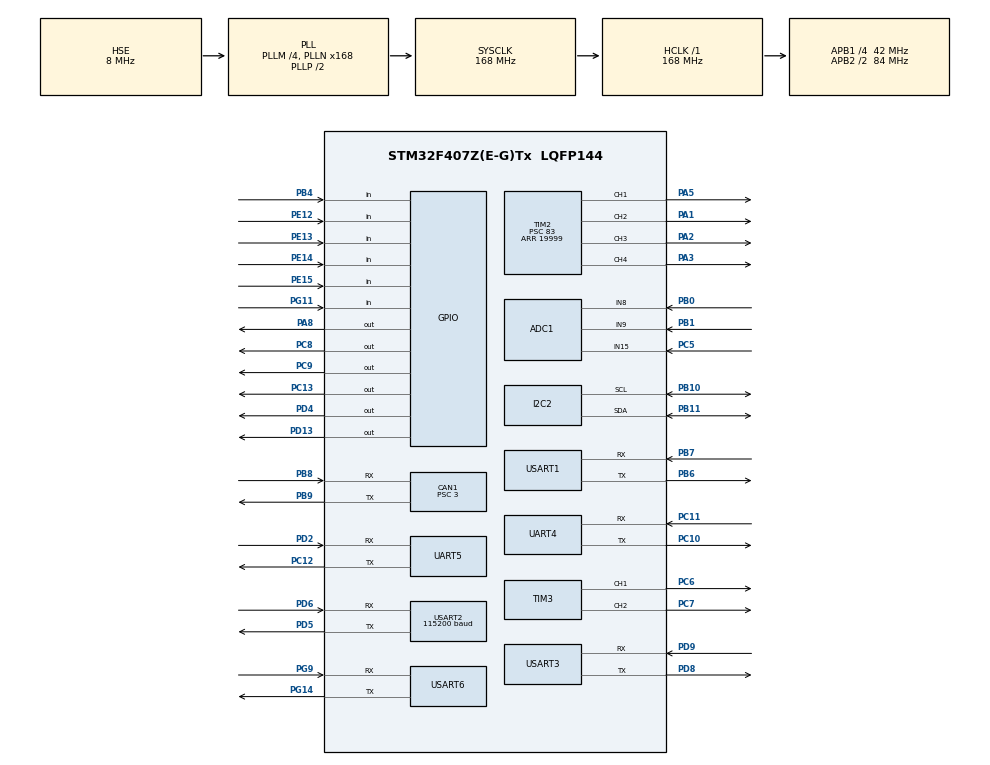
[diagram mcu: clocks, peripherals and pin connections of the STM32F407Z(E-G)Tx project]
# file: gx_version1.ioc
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ADC1.Channel-0\#ChannelRegularConversion=ADC_CHANNEL_15
ADC1.NbrOfConversionFlag=1
ADC1.Rank-0\#ChannelRegularConversion=1
ADC1.SamplingTime-0\#ChannelRegularConversion=ADC_SAMPLETIME_3CYCLES
ADC1.master=1
CAN1.AutoBusOff=ENABLE
CAN1.AutoRetransmission=ENABLE
CAN1.BS1=CAN_BS1_10TQ
CAN1.BS2=CAN_BS2_3TQ
CAN1.CalculateBaudRate=1000000
CAN1.CalculateTimeBit=1000
CAN1.CalculateTimeQuantum=71.42857142857143
CAN1.Prescaler=3
FREERTOS.Tasks01=defaultTask,24,128,StartDefaultTask,Default,NULL,Dynamic,NULL,NULL
Mcu.Family=STM32F4
Mcu.Name=STM32F407Z(E-G)Tx
Mcu.Package=LQFP144
NVIC.PriorityGroup=NVIC_PRIORITYGROUP_4
NVIC.TIM4_IRQn=true\:15\:0\:false\:false\:true\:false\:false\:true\:true
NVIC.TimeBase=TIM4_IRQn
NVIC.TimeBaseIP=TIM4
NVIC.USART2_IRQn=true\:5\:0\:false\:false\:true\:true\:true\:true\:true
PA1.Signal=S_TIM2_CH2
PA13.Mode=Serial_Wire
PA13.Signal=SYS_JTMS-SWDIO
PA14.Mode=Serial_Wire
PA14.Signal=SYS_JTCK-SWCLK
PA2.Signal=S_TIM2_CH3
PA3.Signal=S_TIM2_CH4
PA5.Signal=S_TIM2_CH1_ETR
PA8.Signal=GPIO_Output
PB0.Signal=ADCx_IN8
PB1.Signal=ADCx_IN9
PB10.Mode=I2C
PB10.Signal=I2C2_SCL
PB11.Mode=I2C
PB11.Signal=I2C2_SDA
PB4.Signal=GPIO_Input
PB6.Mode=Asynchronous
PB6.Signal=USART1_TX
PB7.Mode=Asynchronous
PB7.Signal=USART1_RX
PB8.Mode=CAN_Activate
PB8.Signal=CAN1_RX
PB9.Mode=CAN_Activate
PB9.Signal=CAN1_TX
PC10.Mode=Asynchronous
PC10.Signal=UART4_TX
PC11.Mode=Asynchronous
PC11.Signal=UART4_RX
PC12.Mode=Asynchronous
PC12.Signal=UART5_TX
PC13-ANTI_TAMP.Signal=GPIO_Output
PC14-OSC32_IN.Mode=LSE-External-Oscillator
PC14-OSC32_IN.Signal=RCC_OSC32_IN
PC15-OSC32_OUT.Mode=LSE-External-Oscillator
PC15-OSC32_OUT.Signal=RCC_OSC32_OUT
PC5.Signal=ADCx_IN15
PC6.Signal=S_TIM3_CH1
PC7.Signal=S_TIM3_CH2
PC8.Signal=GPIO_Output
PC9.Signal=GPIO_Output
PD13.Signal=GPIO_Output
PD2.Mode=Asynchronous
PD2.Signal=UART5_RX
PD4.Signal=GPIO_Output
PD5.Mode=Asynchronous
PD5.Signal=USART2_TX
PD6.Mode=Asynchronous
PD6.Signal=USART2_RX
PD8.Mode=Asynchronous
PD8.Signal=USART3_TX
PD9.Mode=Asynchronous
PD9.Signal=USART3_RX
PE12.GPIO_PuPd=GPIO_PULLUP
PE12.Signal=GPIO_Input
PE13.GPIO_PuPd=GPIO_PULLUP
PE13.Signal=GPIO_Input
PE14.GPIO_PuPd=GPIO_PULLUP
PE14.Signal=GPIO_Input
PE15.GPIO_PuPd=GPIO_PULLUP
PE15.Signal=GPIO_Input
PG11.Signal=GPIO_Input
PG14.Mode=Asynchronous
PG14.Signal=USART6_TX
PG9.Mode=Asynchronous
PG9.Signal=USART6_RX
PH0-OSC_IN.Mode=HSE-External-Oscillator
PH0-OSC_IN.Signal=RCC_OSC_IN
PH1-OSC_OUT.Mode=HSE-External-Oscillator
PH1-OSC_OUT.Signal=RCC_OSC_OUT
ProjectManager.HeapSize=0x200
ProjectManager.StackSize=0x400
ProjectManager.TargetToolchain=CMake
RCC.48MHZClocksFreq_Value=84000000
RCC.AHBFreq_Value=168000000
RCC.APB1CLKDivider=RCC_HCLK_DIV4
RCC.APB1Freq_Value=42000000
RCC.APB1TimFreq_Value=84000000
RCC.APB2CLKDivider=RCC_HCLK_DIV2
RCC.APB2Freq_Value=84000000
RCC.APB2TimFreq_Value=168000000
RCC.CortexFreq_Value=168000000
RCC.HCLKFreq_Value=168000000
RCC.HSE_VALUE=8000000
RCC.HSI_VALUE=16000000
RCC.PLLM=4
RCC.PLLN=168
RCC.PLLSourceVirtual=RCC_PLLSOURCE_HSE
RCC.SYSCLKFreq_VALUE=168000000
RCC.SYSCLKSource=RCC_SYSCLKSOURCE_PLLCLK
RCC.VCOOutputFreq_Value=336000000
SH.ADCx_IN15.0=ADC1_IN15,IN15
SH.ADCx_IN8.0=ADC1_IN8,IN8
SH.ADCx_IN9.0=ADC1_IN9,IN9
SH.S_TIM2_CH1_ETR.0=TIM2_CH1,PWM Generation1 CH1
SH.S_TIM2_CH2.0=TIM2_CH2,PWM Generation2 CH2
SH.S_TIM2_CH3.0=TIM2_CH3,PWM Generation3 CH3
SH.S_TIM2_CH4.0=TIM2_CH4,PWM Generation4 CH4
SH.S_TIM3_CH1.0=TIM3_CH1,PWM Generation1 CH1
SH.S_TIM3_CH2.0=TIM3_CH2,PWM Generation2 CH2
TIM2.Channel-PWM\ Generation1\ CH1=TIM_CHANNEL_1
TIM2.Channel-PWM\ Generation2\ CH2=TIM_CHANNEL_2
TIM2.Channel-PWM\ Generation3\ CH3=TIM_CHANNEL_3
TIM2.Channel-PWM\ Generation4\ CH4=TIM_CHANNEL_4
TIM2.Period=19999
TIM2.Prescaler=83
TIM3.Channel-PWM\ Generation1\ CH1=TIM_CHANNEL_1
TIM3.Channel-PWM\ Generation2\ CH2=TIM_CHANNEL_2
UART4.VirtualMode=Asynchronous
UART5.VirtualMode=Asynchronous
USART1.VirtualMode=VM_ASYNC
USART2.BaudRate=115200
USART2.VirtualMode=VM_ASYNC
USART3.VirtualMode=VM_ASYNC
USART6.VirtualMode=VM_ASYNC
VP_FREERTOS_VS_CMSIS_V2.Mode=CMSIS_V2
VP_SYS_VS_tim4.Mode=TIM4
board=custom

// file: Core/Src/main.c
/* USER CODE BEGIN Header */
/**
  ******************************************************************************
  * @file           : main.c
  * @brief          : Main program body
  ******************************************************************************
  * @attention
  *
  * Copyright (c) 2026 STMicroelectronics.
  * All rights reserved.
  *
  * This software is licensed under terms that can be found in the LICENSE file
  * in the root directory of this software component.
  * If no LICENSE file comes with this software, it is provided AS-IS.
  *
  ******************************************************************************
  */
/* USER CODE END Header */
#include "main.h"
#include "cmsis_os.h"
#include "adc.h"
#include "can.h"
#include "i2c.h"
#include "tim.h"
#include "usart.h"
#include "gpio.h"

/* USER CODE BEGIN Includes */
#include "M2006.h"
#include "M2006_Speed.h"
#include "imu_task.h"
#include "oled_task.h"
#include "maixcam_task.h"
#include "reset_reason.h"
#include "actuator_task.h"
#include "robot_config.h"
#include "boot_init.h"
/* USER CODE END Includes */

void SystemClock_Config(void);
void MX_FREERTOS_Init(void);

int main(void)
{

  /* USER CODE BEGIN 1 */
  ResetReason_Capture();
  BootInit_Begin();
  /* USER CODE END 1 */

  /* MCU Configuration--------------------------------------------------------*/

  /* Reset of all peripherals, Initializes the Flash interface and the Systick. */
  if (HAL_Init() != HAL_OK)
  {
    Error_Handler();
  }

  /* USER CODE BEGIN Init */
  /* HSI is already running: publish progress before HSE/CAN/servo startup.
     USART2 is configured again after the APB1 clock changes. */
  MX_GPIO_Init();
  MX_USART2_UART_Init();
  BootInit_SetUartReady(true);
  {
    ResetReasonSnapshot snapshot;
    if (ResetReason_GetSnapshot(&snapshot))
    {
      BootInit_Logf("[BOOT] rst=%08lX HSI UART2=115200\r\n",
                    (unsigned long)snapshot.raw_flags);
    }
  }
  if (BootInit_CheckHalTick() != HAL_OK)
  {
    Error_Handler();
  }
  /* USER CODE END Init */

  /* Configure the system clock */
  SystemClock_Config();

  /* USER CODE BEGIN SysInit */
  if (BootInit_CheckHalTick() != HAL_OK)
  {
    Error_Handler();
  }
  BootInit_SetStage("PERIPHERALS");
  /* USER CODE END SysInit */

  /* Initialize all configured peripherals */
  BootInit_SetStage("GPIO");
  MX_GPIO_Init();
  BootInit_SetStage("ADC1");
  MX_ADC1_Init();
  MX_CAN1_Init();
  BootInit_SetStage("TIM2");
  MX_TIM2_Init();
  BootInit_SetStage("TIM3");
  MX_TIM3_Init();
  BootInit_SetStage("UART4");
  MX_UART4_Init();
  BootInit_SetStage("UART5");
  MX_UART5_Init();
  BootInit_SetStage("USART1");
  MX_USART1_UART_Init();
  BootInit_SetStage("USART2");
  MX_USART2_UART_Init();
  BootInit_SetStage("USART3");
  MX_USART3_UART_Init();
  BootInit_SetStage("USART6");
  MX_USART6_UART_Init();
  BootInit_SetStage("I2C2");
  MX_I2C2_Init();
  /* USER CODE BEGIN 2 */
  BootInit_SetStage("ACTUATOR");
  if (Actuator_Init() != HAL_OK)
  {
    Error_Handler();
  }
  if (BootInit_InitCan(&hcan1, true) != HAL_OK)
  {
    Error_Handler();
  }
  SpeedLoop_Init();
  BootInit_SetStage("IMU_AUTO_RX");
  HAL_NVIC_SetPriority(UART4_IRQn, 5U, 0U);
  HAL_NVIC_EnableIRQ(UART4_IRQn);
  if (IMU_Init(&huart4) != HAL_OK)
  {
    Error_Handler();
  }
  BootInit_SetStage("MAIXCAM_RX");
  HAL_NVIC_SetPriority(USART3_IRQn, 5U, 0U);
  HAL_NVIC_EnableIRQ(USART3_IRQn);
  if (MaixCam_Init(&huart3) != HAL_OK)
  {
    Error_Handler();
  }
  BootInit_SetStage("MAIXCAM_RESET_TX");
  {
    /* main runs once per MCU boot, before any mission command can be sent.
       Keep a failed notification bounded; no retry or camera ACK wait. */
    HAL_StatusTypeDef status = MaixCam_SendCommand(MAIXCAM_COMMAND_MCU_RESET);
    BootInit_Logf("[BOOT] TXFE hal=%u\r\n", (unsigned int)status);
  }
#if ROBOT_OLED_ENABLED
  BootInit_SetStage("OLED_INIT");
  (void)OLED_TaskInit(&hi2c2);
#else
  BootInit_SetStage("OLED_OFF");
  /* Also blank a still-powered display when only the MCU was reset. */
  (void)OLED_DisplayOff(&hi2c2);
#endif
  /* M2006 motor 1 rotates at 10 rpm at the output shaft. */
  SpeedLoop_SetMotorTarget(4U, 0.0f, 1000);
  BootInit_SetStage("KERNEL_INIT");
  /* USER CODE END 2 */

  /* Init scheduler */
  if (osKernelInitialize() != osOK)
  {
    Error_Handler();
  }

  /* Call init function for freertos objects (in cmsis_os2.c) */
  BootInit_SetStage("CREATE_TASKS");
  MX_FREERTOS_Init();

  /* Start scheduler */
  BootInit_SetStage("KERNEL_START");
  BootInit_Logf("[BOOT] RTOS ms=%lu\r\n",
                (unsigned long)HAL_GetTick());
  BootInit_SetUartReady(false);
  osKernelStart();
  /* A successful scheduler start never returns. */
  BootInit_SetUartReady(true);
  Error_Handler();

  /* We should never get here as control is now taken by the scheduler */

  /* Infinite loop */
  while (1)
  {

  }
}

void SystemClock_Config(void)
{
  RCC_OscInitTypeDef RCC_OscInitStruct = {0};
  RCC_ClkInitTypeDef RCC_ClkInitStruct = {0};

  /** Configure the main internal regulator output voltage
  */
  __HAL_RCC_PWR_CLK_ENABLE();
  __HAL_PWR_VOLTAGESCALING_CONFIG(PWR_REGULATOR_VOLTAGE_SCALE1);

  /** Initializes the RCC Oscillators according to the specified parameters
  * in the RCC_OscInitTypeDef structure.
  */
  RCC_OscInitStruct.OscillatorType = RCC_OSCILLATORTYPE_HSE;
  RCC_OscInitStruct.HSEState = RCC_HSE_ON;
  RCC_OscInitStruct.PLL.PLLState = RCC_PLL_ON;
  RCC_OscInitStruct.PLL.PLLSource = RCC_PLLSOURCE_HSE;
  RCC_OscInitStruct.PLL.PLLM = 4;
  RCC_OscInitStruct.PLL.PLLN = 168;
  RCC_OscInitStruct.PLL.PLLP = RCC_PLLP_DIV2;
  RCC_OscInitStruct.PLL.PLLQ = 4;
  if (BootInit_ConfigOscillators(&RCC_OscInitStruct) != HAL_OK)
  {
    Error_Handler();
  }

  /** Initializes the CPU, AHB and APB buses clocks
  */
  RCC_ClkInitStruct.ClockType = RCC_CLOCKTYPE_HCLK|RCC_CLOCKTYPE_SYSCLK
                              |RCC_CLOCKTYPE_PCLK1|RCC_CLOCKTYPE_PCLK2;
  RCC_ClkInitStruct.SYSCLKSource = RCC_SYSCLKSOURCE_PLLCLK;
  RCC_ClkInitStruct.AHBCLKDivider = RCC_SYSCLK_DIV1;
  RCC_ClkInitStruct.APB1CLKDivider = RCC_HCLK_DIV4;
  RCC_ClkInitStruct.APB2CLKDivider = RCC_HCLK_DIV2;

  if (BootInit_ConfigClock(&RCC_ClkInitStruct, FLASH_LATENCY_5) != HAL_OK)
  {
    Error_Handler();
  }
}

void HAL_TIM_PeriodElapsedCallback(TIM_HandleTypeDef *htim)
{
  if (htim->Instance == TIM4) {
    HAL_IncTick();
  }
}

void Error_Handler(void)
{
  /* USER CODE BEGIN Error_Handler_Debug */
  __disable_irq();
  if (huart2.Instance == USART2) BootInit_SetUartReady(true);
  SpeedLoop_EmergencyStop();
  if ((hcan1.Instance == CAN1) && (hcan1.State == HAL_CAN_STATE_LISTENING))
  {
    (void)set_moto_current(&hcan1, 0, 0, 0, 0);
  }
  BootInit_FaultLoop();
  /* USER CODE END Error_Handler_Debug */
}

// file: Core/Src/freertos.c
/* USER CODE BEGIN Header */
/**
  ******************************************************************************
  * File Name          : freertos.c
  * Description        : Code for freertos applications
  ******************************************************************************
  * @attention
  *
  * Copyright (c) 2026 STMicroelectronics.
  * All rights reserved.
  *
  * This software is licensed under terms that can be found in the LICENSE file
  * in the root directory of this software component.
  * If no LICENSE file comes with this software, it is provided AS-IS.
  *
  ******************************************************************************
  */
/* USER CODE END Header */

#include "FreeRTOS.h"
#include "task.h"
#include "main.h"
#include "usart.h"
#include "cmsis_os.h"

/* USER CODE BEGIN Includes */
#include "led_task.h"
#include "M2006_task.h"
#include "oled_task.h"
#include "mission_task.h"
#include "debug_uart_task.h"
#include "start_button_task.h"
#include "robot_config.h"
#include "servo_test_task.h"
#include "motor_test_task.h"
#include "imu_task.h"

/* USER CODE END Includes */

/* USER CODE BEGIN Variables */
static osThreadId_t imuTaskHandle;
static const osThreadAttr_t imuTask_attributes = {
  .name = "imuTask",
  .stack_size = 256U * 4U,
  .priority = osPriorityBelowNormal,
};
#if !ROBOT_MG90_SPEED_TEST_ENABLED && !ROBOT_FRAME_DOWN_TEST_ENABLED
static osThreadId_t motorTaskHandle;
#endif
#if ROBOT_OLED_ENABLED
static osThreadId_t oledTaskHandle;
#endif

#if !ROBOT_MG90_SPEED_TEST_ENABLED && !ROBOT_FRAME_DOWN_TEST_ENABLED
static const osThreadAttr_t motorTask_attributes = {
  .name = "motorTask",
  .stack_size = 256U * 4U,
  .priority = (osPriority_t)osPriorityHigh,
};
#endif

#if ROBOT_OLED_ENABLED
static const osThreadAttr_t oledTask_attributes = {
  .name = "oledTask",
  .stack_size = 256U * 4U,
  .priority = (osPriority_t)osPriorityLow,
};
#endif

/* USER CODE END Variables */
/* Definitions for defaultTask */
osThreadId_t defaultTaskHandle;
const osThreadAttr_t defaultTask_attributes = {
  .name = "defaultTask",
  .stack_size = 128 * 4,
  .priority = (osPriority_t) osPriorityNormal,
};

/* USER CODE BEGIN FunctionPrototypes */
static void StartImuTask(void *argument);

/* USER CODE END FunctionPrototypes */

void StartDefaultTask(void *argument);

void MX_FREERTOS_Init(void); /* (MISRA C 2004 rule 8.1) */

void MX_FREERTOS_Init(void) {

  /* Create the thread(s) */
  /* creation of defaultTask */
  defaultTaskHandle = osThreadNew(StartDefaultTask, NULL, &defaultTask_attributes);

  /* USER CODE BEGIN RTOS_THREADS */
#if !ROBOT_MG90_SPEED_TEST_ENABLED && !ROBOT_FRAME_DOWN_TEST_ENABLED
  motorTaskHandle = osThreadNew(StartMotorTask, NULL, &motorTask_attributes);
#endif
#if ROBOT_OLED_ENABLED
  oledTaskHandle = osThreadNew(StartOledTask, NULL, &oledTask_attributes);
  if (oledTaskHandle == NULL)
  {
    Error_Handler();
  }
#endif
  if ((defaultTaskHandle == NULL) || !DebugUartTask_Create(&huart2))
  {
    Error_Handler();
  }
  imuTaskHandle = osThreadNew(StartImuTask, NULL, &imuTask_attributes);
  if (imuTaskHandle == NULL)
  {
    Error_Handler();
  }
#if ROBOT_MG90_SPEED_TEST_ENABLED
  if (!ServoTestTask_Create())
  {
    Error_Handler();
  }
#elif ROBOT_STRAIGHT_TEST_ENABLED
  if ((motorTaskHandle == NULL) || !MotorTestTask_Create())
  {
    Error_Handler();
  }
#elif !ROBOT_FRAME_DOWN_TEST_ENABLED
  if ((motorTaskHandle == NULL) || !MissionTask_Create() || !StartButtonTask_Create())
  {
    Error_Handler();
  }
#endif
  /* USER CODE END RTOS_THREADS */

}

void StartDefaultTask(void *argument)
{
  /* USER CODE BEGIN StartDefaultTask */
#if ROBOT_FRAME_DOWN_TEST_ENABLED
  (void)DebugUart_Logf(
      "[TEST] FRAME lift=%u cam=%u MOTOR OFF\r\n",
      (unsigned int)ROBOT_FRAME_TEST_LIFT_DEG,
      (unsigned int)ROBOT_FRAME_TEST_CAMERA_ANGLE_DEG);
#endif
  LED_Task(argument);
  /* USER CODE END StartDefaultTask */
}

/* USER CODE BEGIN Application */
static void StartImuTask(void *argument)
{
  (void)argument;
  for (;;)
  {
    uint32_t now = HAL_GetTick();
    IMU_Service(now);
    IMU_DebugYaw(HAL_GetTick());
    (void)osDelay(20U);
  }
}

/* USER CODE END Application */
